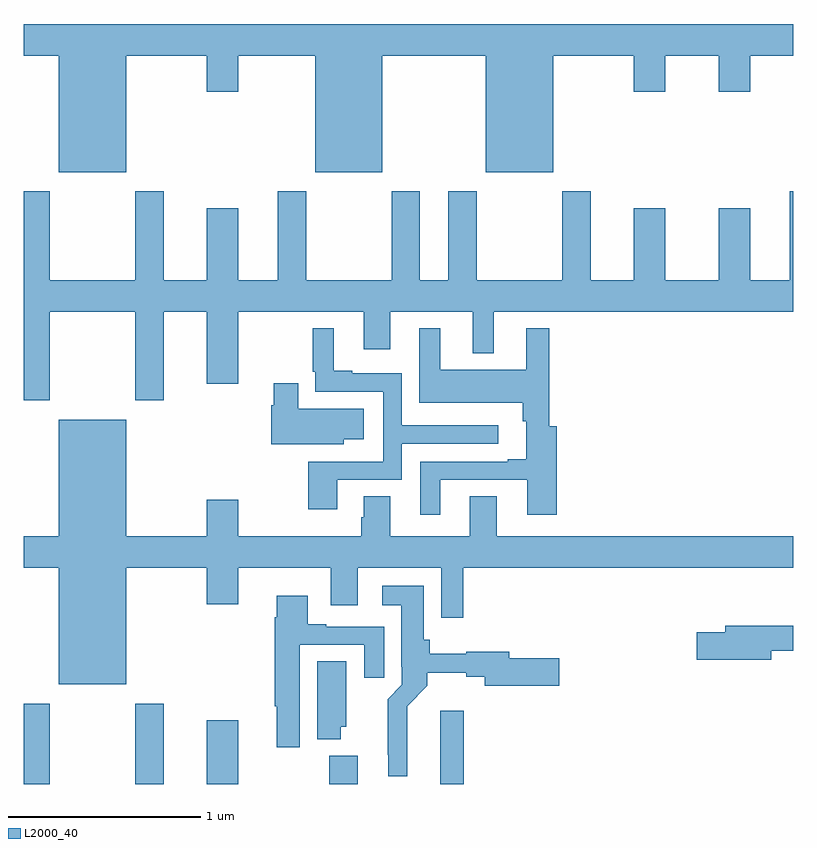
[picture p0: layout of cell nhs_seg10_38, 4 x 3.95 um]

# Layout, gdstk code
import gdstk
lib = gdstk.Library(unit=1e-6, precision=1e-09)
def R(c, l, rs):  # rectangles x0, y0, x1, y1
    for r in rs: c.add(gdstk.rectangle(r[:2], r[2:], *l))
def P(c, l, *ps):  # polygons
    for p in ps: c.add(gdstk.Polygon(p, *l))
L2000_40 = (2000, 40)

nhs_seg10_38 = lib.new_cell('nhs_seg10_38')
R(nhs_seg10_38, L2000_40, [(111,1324.5,111.135,1324.918), (111.58,1324.5,111.727,1324.918), (111.95,1324.5,112.114,1324.831), (112.588,1324.5,112.735,1324.648), (113.165,1324.5,113.288,1324.882)])
P(nhs_seg10_38, L2000_40, [(111.532,1328.288),(111.95,1328.288),(111.95,1328.1),(112.114,1328.1),(112.114,1328.288),(112.514,1328.288),(112.514,1327.682),(112.864,1327.682),(112.864,1328.288),(113.402,1328.288),(113.402,1327.682),(113.752,1327.682),(113.752,1328.288),(114.17,1328.288),(114.17,1328.1),(114.334,1328.1),(114.334,1328.288),(114.614,1328.288),(114.614,1328.1),(114.778,1328.1),(114.778,1328.288),(115,1328.288),(115,1328.452),(111,1328.452),(111,1328.288),(111.182,1328.288),(111.182,1327.682),(111.532,1327.682)],
  [(111.135,1326.956),(111.58,1326.956),(111.58,1326.495),(111.727,1326.495),(111.727,1326.956),(111.95,1326.956),(111.95,1326.582),(112.114,1326.582),(112.114,1326.956),(112.766,1326.956),(112.766,1326.762),(112.906,1326.762),(112.906,1326.956),(113.333,1326.956),(113.333,1326.74),(113.443,1326.74),(113.443,1326.956),(115,1326.956),(115,1327.582),(114.983,1327.582),(114.983,1327.12),(114.778,1327.12),(114.778,1327.495),(114.614,1327.495),(114.614,1327.12),(114.334,1327.12),(114.334,1327.495),(114.17,1327.495),(114.17,1327.12),(113.947,1327.12),(113.947,1327.582),(113.8,1327.582),(113.8,1327.12),(113.355,1327.12),(113.355,1327.582),(113.207,1327.582),(113.207,1327.12),(113.059,1327.12),(113.059,1327.582),(112.912,1327.582),(112.912,1327.12),(112.467,1327.12),(112.467,1327.582),(112.319,1327.582),(112.319,1327.12),(112.114,1327.12),(112.114,1327.495),(111.95,1327.495),(111.95,1327.12),(111.727,1327.12),(111.727,1327.582),(111.58,1327.582),(111.58,1327.12),(111.135,1327.12),(111.135,1327.582),(111,1327.582),(111,1326.495),(111.135,1326.495)],
  [(113.164,1326.081),(113.618,1326.081),(113.618,1325.901),(113.771,1325.901),(113.771,1326.361),(113.731,1326.361),(113.731,1326.871),(113.612,1326.871),(113.612,1326.655),(113.164,1326.655),(113.164,1326.871),(113.057,1326.871),(113.057,1326.482),(113.595,1326.482),(113.595,1326.386),(113.612,1326.386),(113.612,1326.19),(113.516,1326.19),(113.516,1326.177),(113.06,1326.177),(113.06,1325.901),(113.164,1325.901)],
  [(112.63,1326.081),(112.965,1326.081),(112.965,1326.27),(113.467,1326.27),(113.467,1326.366),(112.965,1326.366),(112.965,1326.636),(112.708,1326.636),(112.708,1326.649),(112.612,1326.649),(112.612,1326.871),(112.503,1326.871),(112.503,1326.643),(112.515,1326.643),(112.515,1326.54),(112.869,1326.54),(112.869,1326.177),(112.478,1326.177),(112.478,1325.928),(112.63,1325.928)],
  [(112.662,1326.293),(112.768,1326.293),(112.768,1326.451),(112.426,1326.451),(112.426,1326.583),(112.298,1326.583),(112.298,1326.47),(112.286,1326.47),(112.286,1326.266),(112.662,1326.266)],
  [(111.532,1325.624),(111.95,1325.624),(111.95,1325.436),(112.114,1325.436),(112.114,1325.624),(112.595,1325.624),(112.595,1325.43),(112.735,1325.43),(112.735,1325.624),(113.169,1325.624),(113.169,1325.364),(113.285,1325.364),(113.285,1325.624),(115,1325.624),(115,1325.788),(113.458,1325.788),(113.458,1325.996),(113.318,1325.996),(113.318,1325.788),(112.906,1325.788),(112.906,1325.996),(112.766,1325.996),(112.766,1325.886),(112.754,1325.886),(112.754,1325.788),(112.114,1325.788),(112.114,1325.977),(111.95,1325.977),(111.95,1325.788),(111.532,1325.788),(111.532,1326.394),(111.182,1326.394),(111.182,1325.788),(111,1325.788),(111,1325.624),(111.182,1325.624),(111.182,1325.018),(111.532,1325.018)],
  [(112.993,1324.904),(113.098,1325.01),(113.098,1325.078),(113.3,1325.078),(113.3,1325.059),(113.396,1325.059),(113.396,1325.012),(113.785,1325.012),(113.785,1325.154),(113.524,1325.154),(113.524,1325.188),(113.3,1325.188),(113.3,1325.177),(113.111,1325.177),(113.111,1325.25),(113.08,1325.25),(113.08,1325.53),(112.863,1325.53),(112.863,1325.429),(112.961,1325.429),(112.961,1325.11),(112.965,1325.11),(112.965,1325.016),(112.891,1324.942),(112.891,1324.651),(112.895,1324.651),(112.895,1324.541),(112.993,1324.541)],
  [(112.435,1325.223),(112.769,1325.223),(112.769,1325.052),(112.873,1325.052),(112.873,1325.319),(112.573,1325.319),(112.573,1325.332),(112.477,1325.332),(112.477,1325.479),(112.316,1325.479),(112.316,1325.366),(112.304,1325.366),(112.304,1324.904),(112.316,1324.904),(112.316,1324.692),(112.435,1324.692)],
  [(114.886,1325.194),(115,1325.194),(115,1325.323),(114.647,1325.323),(114.647,1325.289),(114.498,1325.289),(114.498,1325.147),(114.886,1325.147)],
  [(112.648,1324.797),(112.675,1324.797),(112.675,1325.138),(112.526,1325.138),(112.526,1324.733),(112.648,1324.733)])

lib.write_gds('nhs_seg10_38.gds')
